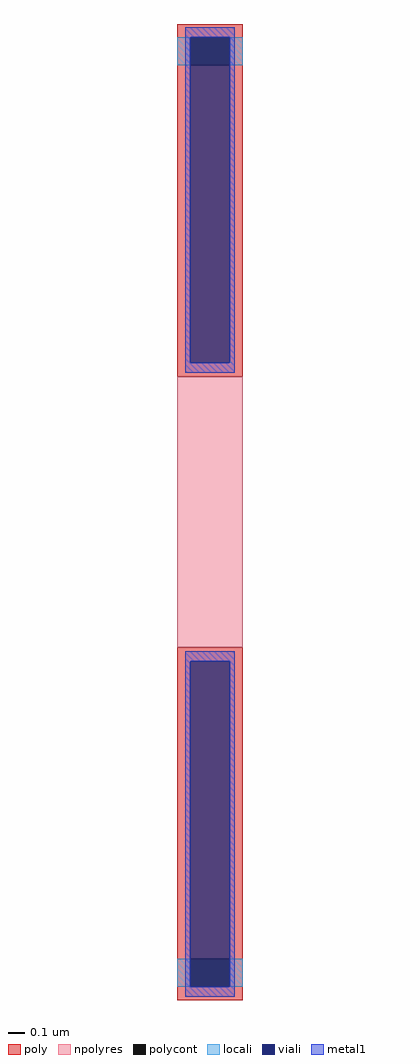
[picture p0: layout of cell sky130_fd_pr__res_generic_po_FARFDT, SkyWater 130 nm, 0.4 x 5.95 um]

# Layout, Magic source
magic
tech sky130A
magscale 1 2
<< poly >>
rect -40 579 40 595
rect -40 545 -24 579
rect 24 545 40 579
rect -40 165 40 545
rect -40 -545 40 -165
rect -40 -579 -24 -545
rect 24 -579 40 -545
rect -40 -595 40 -579
<< polycont >>
rect -24 545 24 579
rect -24 -579 24 -545
<< npolyres >>
rect -40 -165 40 165
<< locali >>
rect -40 545 -24 579
rect 24 545 40 579
rect -40 -579 -24 -545
rect 24 -579 40 -545
<< viali >>
rect -24 545 24 579
rect -24 182 24 545
rect -24 -545 24 -182
rect -24 -579 24 -545
<< metal1 >>
rect -30 579 30 591
rect -30 182 -24 579
rect 24 182 30 579
rect -30 170 30 182
rect -30 -182 30 -170
rect -30 -579 -24 -182
rect 24 -579 30 -182
rect -30 -591 30 -579
<< properties >>
string gencell sky130_fd_pr__res_generic_po
string library sky130
string parameters w 0.397 l 1.650 m 1 nx 1 wmin 0.330 lmin 1.650 rho 48.2 val 200.327 dummy 0 dw 0.0 term 0.0 sterm 0.0 caplen 0.4 snake 0 guard 0 glc 0 grc 0 gtc 0 gbc 0 roverlap 0 endcov 100 full_metal 0 hv_guard 0 n_guard 0 vias 1 viagb 0 viagt 0 viagl 0 viagr 0
<< end >>
